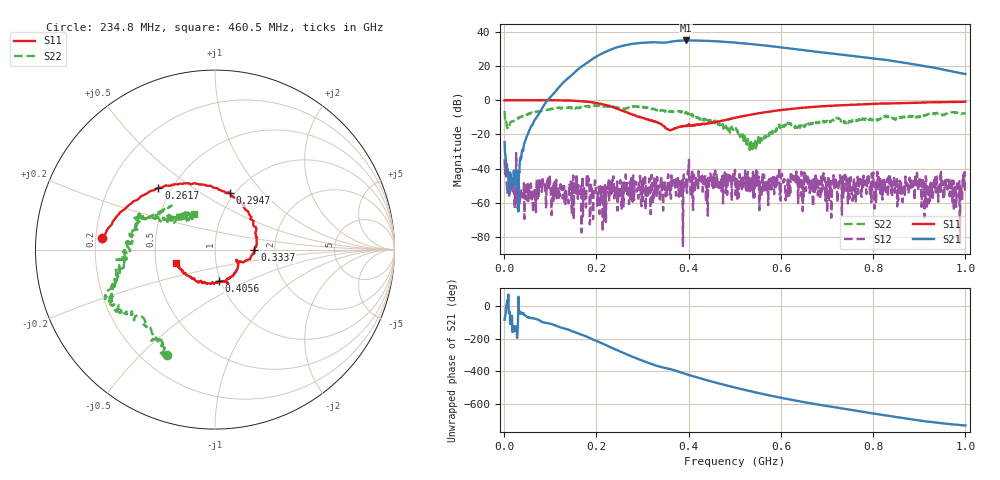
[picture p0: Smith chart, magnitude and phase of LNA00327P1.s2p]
! Created with skrf 1.9.0 (http://scikit-rf.org).
# Hz S RI R 50.0
!freq ReS11 ImS11 ReS21 ImS21 ReS12 ImS12 ReS22 ImS22
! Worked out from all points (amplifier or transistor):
!   1001 points, 1 MHz to 1 GHz, reference 50 ohm
!   highest |S21| = 34.9 dB at 394.6 MHz (marker M1)
!   |S21| within 3 dB of that: 259.8 MHz to 566.3 MHz (306.6 MHz wide, 74.2 % of centre)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
!   unconditionally stable (mu >= 1): start of sweep to 80.84 MHz; 197.9 MHz to 400 MHz; 401 MHz to end of sweep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
!   at 166.8 MHz: K = 0.86, MSG = 34.8 dB, |S12| = -50.3 dB
!   at 500.5 MHz: K = 1.20, MAG = 34.5 dB, |S12| = -40.7 dB
!   at 1 GHz: K = 4.77, MAG = 23.5 dB, |S12| = -51.1 dB
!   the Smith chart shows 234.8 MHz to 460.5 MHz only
!   S11 on the Smith chart (normalised r, x): 234.8 MHz: 0.23, +0.05; 261.7 MHz: 0.42, +0.37; 294.7 MHz: 0.95, +0.67; 333.7 MHz: 1.56, -0.00; 405.6 MHz: 0.98, -0.36; 460.5 MHz: 0.64, -0.10
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1000000  0.9861 -0.000223  0.00538 -0.0593  -0.0137 0.0129  0.3394 0.3438
1.08892e8  0.5059 -0.8552  -0.7591 -1.47  0.000235 0.00192  0.4368 -0.3559
1.67833e8  -0.2616 -0.892  -9.584 -0.6546  2.15e-05 0.000135  0.0809 -0.617
2.06794e8  -0.6791 -0.4078  -15.67 14.39  -0.000378 0.000275  -0.1553 -0.6708
2.34766e8  -0.6297 0.0669  -6.166 30.97  -0.0034 0.00202  -0.2686 -0.5852
2.61739e8  -0.3154 0.344  15.53 36.78  -0.00326 0.00204  -0.3915 -0.393
2.94706e8  0.0841 0.3162  40.91 22.94  -0.00332 0.00516  -0.612 -0.2521
3.13687e8  0.197 0.1707  48.21 7.127  -0.00229 -0.00262  -0.5542 -0.189
3.33667e8  0.2196 -0.000799  47.76 -8.633  -0.00227 -0.00101  -0.5363 -0.0573
3.34666e8  0.2202 -0.0102  47.62 -9.422  -0.0024 0.000993  -0.5141 -0.0691
3.68632e8  0.1253 -0.0721  43.46 -30.35  0.00268 0.00272  -0.4401 0.1463
3.94606e8  0.0782 -0.1631  28.57 -47.73  0.000794 0.0048  -0.4007 0.1905
4.05595e8  0.0234 -0.1769  20.14 -51.68  0.00238 -0.000973  -0.3341 0.1705
4.32568e8  -0.112 -0.1709  -1.045 -54.39  0.00397 0.00508  -0.2025 0.1603
4.6054e8  -0.2171 -0.0731  -20.51 -48.46  0.00692 -0.00177  -0.1192 0.1977
5.005e8  -0.2775 0.1309  -38.13 -29.76  -0.0015 0.00906  -0.0591 0.117
5.4046e8  -0.1922 0.3381  -41.97 -8.515  0.00122 0.000212  -0.0537 0.00274
5.88412e8  0.0183 0.4902  -34.7 11.41  0.00199 -0.00164  -0.0889 -0.0781
6.67333e8  0.3968 0.4918  -13.3 23.31  0.00347 -0.00336  -0.1961 -0.0621
7.55245e8  0.6835 0.2721  3.607 19.22  -0.000951 -0.00063  -0.258 0.0128
8.34166e8  0.801 0.0135  10.47 10.12  -0.00567 0.00178  -0.3217 -0.0321
1e9  0.7234 -0.5309  5.617 -1.507  -0.00276 -0.000368  -0.3552 0.2299
